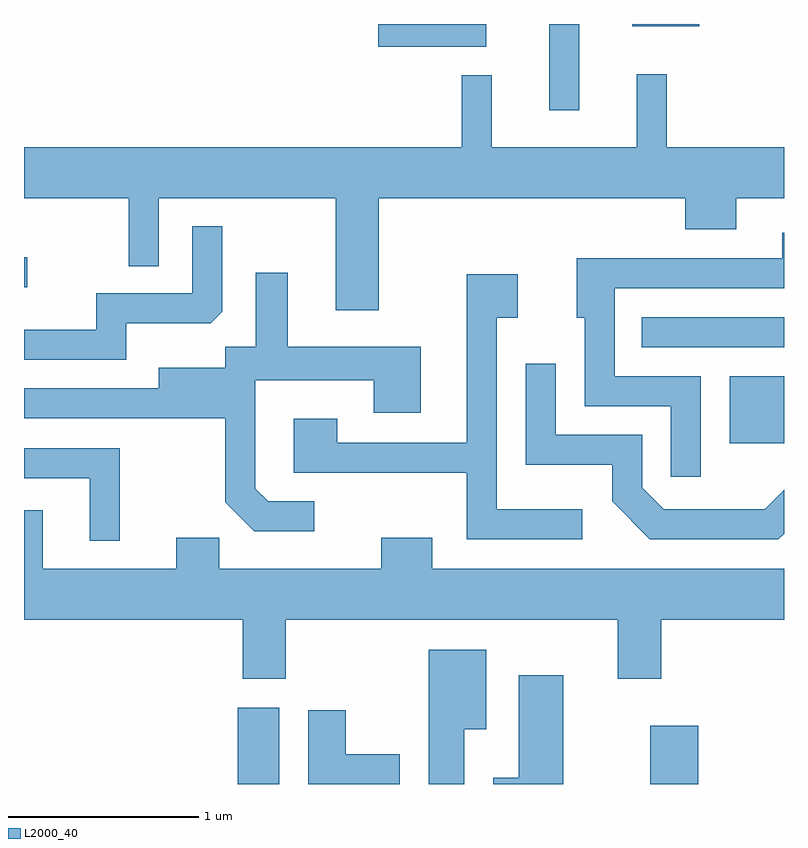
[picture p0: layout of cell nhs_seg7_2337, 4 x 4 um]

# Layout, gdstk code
import gdstk
lib = gdstk.Library(unit=1e-6, precision=1e-09)
def R(c, l, rs):  # rectangles x0, y0, x1, y1
    for r in rs: c.add(gdstk.rectangle(r[:2], r[2:], *l))
def P(c, l, *ps):  # polygons
    for p in ps: c.add(gdstk.Polygon(p, *l))
L2000_40 = (2000, 40)

nhs_seg7_2337 = lib.new_cell('nhs_seg7_2337')
R(nhs_seg7_2337, L2000_40, [(256.736,1802.252,256.954,1802.654), (258.906,1802.252,259.159,1802.559), (259.326,1804.046,259.611,1804.399), (258.863,1804.551,259.611,1804.709), (255.611,1804.866,255.628,1805.024), (258.376,1805.798,258.534,1806.252), (257.476,1806.131,258.044,1806.252), (258.811,1806.241,259.164,1806.252)])
P(nhs_seg7_2337, L2000_40, [(257.479,1805.336),(259.091,1805.336),(259.091,1805.171),(259.359,1805.171),(259.359,1805.336),(259.611,1805.336),(259.611,1805.604),(258.994,1805.604),(258.994,1805.988),(258.836,1805.988),(258.836,1805.604),(258.074,1805.604),(258.074,1805.983),(257.916,1805.983),(257.916,1805.604),(255.611,1805.604),(255.611,1805.336),(256.161,1805.336),(256.161,1804.978),(256.319,1804.978),(256.319,1805.336),(257.251,1805.336),(257.251,1804.746),(257.479,1804.746)],
  [(256.149,1804.676),(256.594,1804.676),(256.654,1804.737),(256.654,1805.188),(256.496,1805.188),(256.496,1804.834),(255.991,1804.834),(255.991,1804.644),(255.611,1804.644),(255.611,1804.486),(256.149,1804.486)],
  [(259.174,1804.399),(258.719,1804.399),(258.719,1804.861),(259.611,1804.861),(259.611,1805.154),(259.601,1805.154),(259.601,1805.019),(258.521,1805.019),(258.521,1804.706),(258.561,1804.706),(258.561,1804.241),(259.016,1804.241),(259.016,1803.868),(259.174,1803.868)],
  [(257.138,1803.739),(256.897,1803.739),(256.829,1803.807),(256.829,1804.376),(257.451,1804.376),(257.451,1804.206),(257.699,1804.206),(257.699,1804.554),(256.999,1804.554),(256.999,1804.943),(256.831,1804.943),(256.831,1804.554),(256.671,1804.554),(256.671,1804.444),(256.321,1804.444),(256.321,1804.334),(255.611,1804.334),(255.611,1804.176),(256.671,1804.176),(256.671,1803.734),(256.824,1803.581),(257.138,1803.581)],
  [(258.548,1803.699),(258.099,1803.699),(258.099,1804.706),(258.209,1804.706),(258.209,1804.934),(257.941,1804.934),(257.941,1804.049),(257.259,1804.049),(257.259,1804.174),(257.031,1804.174),(257.031,1803.891),(257.941,1803.891),(257.941,1803.541),(258.548,1803.541)],
  [(259.611,1803.57),(259.611,1803.801),(259.509,1803.699),(258.977,1803.699),(258.864,1803.812),(258.864,1804.089),(258.409,1804.089),(258.409,1804.463),(258.251,1804.463),(258.251,1803.931),(258.706,1803.931),(258.706,1803.739),(258.904,1803.541),(259.582,1803.541)],
  [(256.114,1804.019),(255.611,1804.019),(255.611,1803.861),(255.956,1803.861),(255.956,1803.533),(256.114,1803.533)],
  [(256.989,1803.116),(258.736,1803.116),(258.736,1802.806),(258.964,1802.806),(258.964,1803.116),(259.611,1803.116),(259.611,1803.384),(257.759,1803.384),(257.759,1803.549),(257.491,1803.549),(257.491,1803.384),(256.639,1803.384),(256.639,1803.549),(256.411,1803.549),(256.411,1803.384),(255.709,1803.384),(255.709,1803.694),(255.611,1803.694),(255.611,1803.116),(256.761,1803.116),(256.761,1802.806),(256.989,1802.806)],
  [(257.929,1802.541),(258.044,1802.541),(258.044,1802.959),(257.741,1802.959),(257.741,1802.252),(257.929,1802.252)],
  [(258.449,1802.824),(258.216,1802.824),(258.216,1802.284),(258.081,1802.284),(258.081,1802.252),(258.449,1802.252)],
  [(257.589,1802.409),(257.304,1802.409),(257.304,1802.639),(257.106,1802.639),(257.106,1802.252),(257.589,1802.252)])

lib.write_gds('nhs_seg7_2337.gds')
